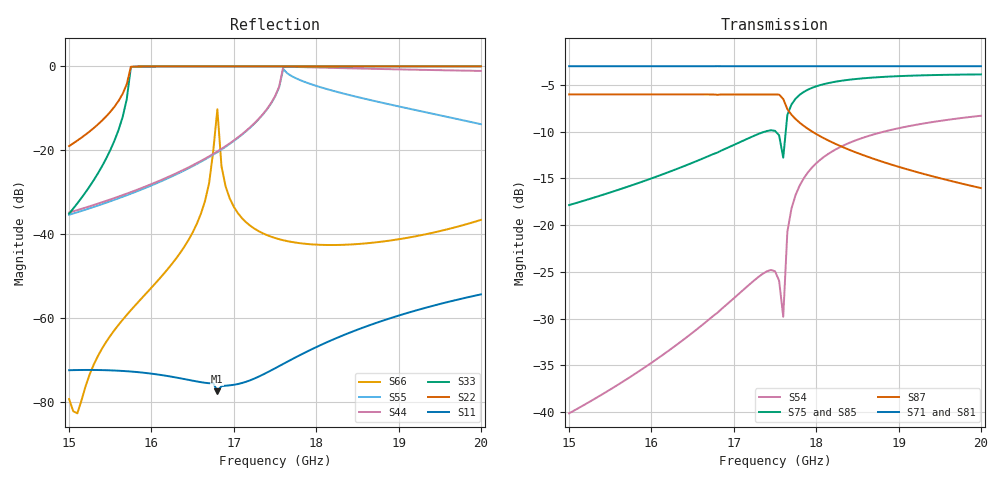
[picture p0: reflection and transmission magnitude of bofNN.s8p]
! HFSS S-parameters converted from .matrix format
! 8-port network, 101 frequency points
# GHz S RI R 50.0
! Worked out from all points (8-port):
!   101 points, 15 GHz to 20 GHz, reference 50 ohm
!   strongest paths, dB at 15 GHz, 16.25 GHz, 17.5 GHz, 18.75 GHz, 20 GHz:
!     S71: -3.0, -3.0, -3.0, -3.0, -3.0
!     S81: -3.0, -3.0, -3.0, -3.0, -3.0
!     S87: -6.0, -6.0, -6.0, -13.1, -16.0
!     S75: -17.9, -14.2, -9.9, -4.2, -3.9
!     S85: -17.9, -14.2, -9.9, -4.2, -3.9
!     S54: -40.1, -33.2, -24.9, -10.2, -8.3
!   lowest |S11| = -77.4 dB at 16.8 GHz (marker M1), VSWR 1.00, Z = 50 + j0.00282 ohm
!   |S11| at or under -10 dB: start of sweep to end of sweep
